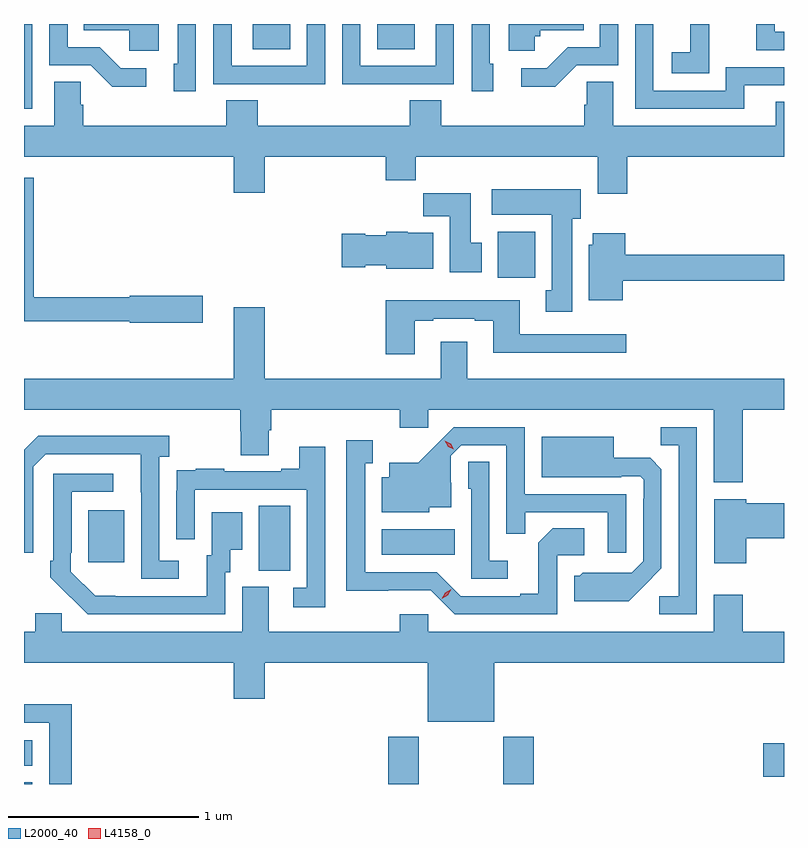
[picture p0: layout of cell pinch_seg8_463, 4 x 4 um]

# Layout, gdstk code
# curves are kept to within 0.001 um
import gdstk
lib = gdstk.Library(unit=1e-6, precision=1e-09)
def R(c, l, rs):  # rectangles x0, y0, x1, y1
    for r in rs: c.add(gdstk.rectangle(r[:2], r[2:], *l))
def P(c, l, *ps):  # polygons
    for p in ps: c.add(gdstk.Polygon(p, *l))
L2000_40 = (2000, 40)
L4158_0 = (4158, 0)

pinch_seg8_463 = lib.new_cell('pinch_seg8_463')
R(pinch_seg8_463, L2000_40, [(115.952,1127.851,115.996,1127.86), (117.869,1127.851,118.029,1128.1), (118.474,1127.851,118.634,1128.1), (119.844,1127.888,119.952,1128.066), (115.952,1127.948,115.996,1128.082), (117.188,1128.973,117.352,1129.316), (116.291,1129.017,116.479,1129.291), (117.836,1129.058,118.22,1129.192), (118.445,1130.516,118.642,1130.758), (115.952,1131.405,115.995,1131.851), (117.155,1131.719,117.352,1131.851), (117.812,1131.719,118.009,1131.851)])
P(pinch_seg8_463, L2000_40, [(117.899,1131.534),(118.215,1131.534),(118.215,1131.851),(118.119,1131.851),(118.119,1131.63),(117.723,1131.63),(117.723,1131.851),(117.627,1131.851),(117.627,1131.533),(117.899,1131.533)],
  [(118.423,1131.642),(118.404,1131.642),(118.404,1131.851),(118.308,1131.851),(118.308,1131.498),(118.423,1131.498)],
  [(119.743,1131.528),(119.952,1131.528),(119.952,1131.624),(119.646,1131.624),(119.646,1131.501),(119.265,1131.501),(119.265,1131.851),(119.169,1131.851),(119.169,1131.405),(119.743,1131.405)],
  [(119.952,1131.81),(119.904,1131.81),(119.904,1131.851),(119.806,1131.851),(119.806,1131.714),(119.952,1131.714)],
  [(119.559,1131.799),(119.558,1131.799),(119.558,1131.851),(119.459,1131.851),(119.459,1131.703),(119.361,1131.703),(119.361,1131.593),(119.559,1131.593)],
  [(118.641,1131.786),(118.668,1131.786),(118.668,1131.818),(118.898,1131.818),(118.898,1131.851),(118.502,1131.851),(118.502,1131.71),(118.641,1131.71)],
  [(116.596,1131.618),(116.461,1131.618),(116.35,1131.729),(116.181,1131.729),(116.181,1131.851),(116.085,1131.851),(116.085,1131.633),(116.304,1131.633),(116.417,1131.521),(116.596,1131.521)],
  [(117.537,1131.851),(117.441,1131.851),(117.441,1131.63),(117.045,1131.63),(117.045,1131.851),(116.949,1131.851),(116.949,1131.534),(117.265,1131.534),(117.265,1131.533),(117.537,1131.533)],
  [(116.662,1131.851),(116.266,1131.851),(116.266,1131.818),(116.505,1131.818),(116.505,1131.71),(116.662,1131.71)],
  [(118.86,1131.633),(119.079,1131.633),(119.079,1131.851),(118.983,1131.851),(118.983,1131.729),(118.814,1131.729),(118.703,1131.618),(118.569,1131.618),(118.569,1131.521),(118.747,1131.521)],
  [(116.856,1131.851),(116.76,1131.851),(116.76,1131.642),(116.741,1131.642),(116.741,1131.498),(116.856,1131.498)],
  [(119.126,1131.152),(119.952,1131.152),(119.952,1131.443),(119.909,1131.443),(119.909,1131.316),(119.053,1131.316),(119.053,1131.548),(118.914,1131.548),(118.914,1131.425),(118.901,1131.425),(118.901,1131.316),(118.148,1131.316),(118.148,1131.449),(117.983,1131.449),(117.983,1131.316),(117.182,1131.316),(117.182,1131.449),(117.017,1131.449),(117.017,1131.316),(116.264,1131.316),(116.264,1131.425),(116.25,1131.425),(116.25,1131.548),(116.111,1131.548),(116.111,1131.316),(115.952,1131.316),(115.952,1131.152),(117.056,1131.152),(117.056,1130.964),(117.22,1130.964),(117.22,1131.152),(117.857,1131.152),(117.857,1131.028),(118.013,1131.028),(118.013,1131.152),(118.973,1131.152),(118.973,1130.958),(119.126,1130.958)],
  [(116.893,1130.42),(116.508,1130.42),(116.508,1130.414),(116.003,1130.414),(116.003,1131.042),(115.952,1131.042),(115.952,1130.286),(116.508,1130.286),(116.508,1130.278),(116.893,1130.278)],
  [(118.837,1130.826),(118.882,1130.826),(118.882,1130.98),(118.413,1130.98),(118.413,1130.846),(118.73,1130.846),(118.73,1130.45),(118.697,1130.45),(118.697,1130.337),(118.837,1130.337)],
  [(118.36,1130.7),(118.303,1130.7),(118.303,1130.959),(118.054,1130.959),(118.054,1130.84),(118.193,1130.84),(118.193,1130.544),(118.36,1130.544)],
  [(118.105,1130.752),(117.972,1130.752),(117.972,1130.758),(117.858,1130.758),(117.858,1130.74),(117.747,1130.74),(117.747,1130.748),(117.624,1130.748),(117.624,1130.57),(117.747,1130.57),(117.747,1130.582),(117.858,1130.582),(117.858,1130.564),(118.105,1130.564)],
  [(119.104,1130.5),(119.952,1130.5),(119.952,1130.636),(119.117,1130.636),(119.117,1130.749),(118.946,1130.749),(118.946,1130.688),(118.925,1130.688),(118.925,1130.396),(119.104,1130.396)],
  [(118.009,1130.289),(118.105,1130.289),(118.105,1130.301),(118.325,1130.301),(118.325,1130.289),(118.421,1130.289),(118.421,1130.12),(119.122,1130.12),(119.122,1130.217),(118.561,1130.217),(118.561,1130.398),(117.857,1130.398),(117.857,1130.112),(118.009,1130.112)],
  [(119.735,1129.82),(119.952,1129.82),(119.952,1129.984),(118.285,1129.984),(118.285,1130.179),(118.145,1130.179),(118.145,1129.984),(117.22,1129.984),(117.22,1130.359),(117.056,1130.359),(117.056,1129.984),(115.952,1129.984),(115.952,1129.82),(117.089,1129.82),(117.089,1129.707),(117.094,1129.707),(117.094,1129.582),(117.241,1129.582),(117.241,1129.714),(117.254,1129.714),(117.254,1129.82),(117.929,1129.82),(117.929,1129.725),(118.08,1129.725),(118.08,1129.82),(119.582,1129.82),(119.582,1129.44),(119.735,1129.44)],
  [(119.493,1129.728),(119.302,1129.728),(119.302,1129.633),(119.397,1129.633),(119.397,1128.84),(119.295,1128.84),(119.295,1128.744),(119.493,1128.744)],
  [(119.121,1129.377),(118.587,1129.377),(118.587,1129.728),(118.214,1129.728),(118.027,1129.543),(117.875,1129.543),(117.875,1129.465),(117.836,1129.465),(117.836,1129.28),(118.086,1129.28),(118.086,1129.307),(118.201,1129.307),(118.201,1129.436),(118.197,1129.436),(118.197,1129.578),(118.254,1129.635),(118.491,1129.635),(118.491,1129.168),(118.589,1129.168),(118.589,1129.281),(119.025,1129.281),(119.025,1129.068),(119.121,1129.068)],
  [(116.767,1129.026),(116.664,1129.026),(116.664,1129.574),(116.716,1129.574),(116.716,1129.684),(116.026,1129.684),(115.952,1129.61),(115.952,1129.068),(116.001,1129.068),(116.001,1129.521),(116.067,1129.587),(116.567,1129.587),(116.568,1128.93),(116.767,1128.93)],
  [(119.215,1128.893),(119.307,1128.986),(119.307,1129.508),(119.248,1129.567),(119.056,1129.567),(119.056,1129.678),(118.676,1129.678),(118.676,1129.466),(119.096,1129.466),(119.096,1129.47),(119.196,1129.47),(119.214,1129.452),(119.214,1129.352),(119.211,1129.352),(119.211,1129.023),(119.151,1128.963),(118.894,1128.964),(118.878,1128.948),(118.847,1128.948),(118.847,1128.812),(119.135,1128.812)],
  [(118.758,1129.056),(118.9,1129.056),(118.9,1129.196),(118.735,1129.196),(118.659,1129.12),(118.659,1128.853),(118.565,1128.853),(118.565,1128.84),(118.251,1128.84),(118.125,1128.966),(117.748,1128.966),(117.748,1129.539),(117.787,1129.539),(117.787,1129.66),(117.647,1129.66),(117.647,1128.869),(118.092,1128.87),(118.218,1128.744),(118.758,1128.744)],
  [(117.537,1129.627),(117.401,1129.627),(117.401,1129.51),(117.305,1129.51),(117.305,1129.497),(117.005,1129.497),(117.005,1129.51),(116.857,1129.51),(116.857,1129.503),(116.755,1129.503),(116.755,1129.394),(116.754,1129.394),(116.754,1129.14),(116.85,1129.14),(116.85,1129.401),(117.441,1129.401),(117.441,1128.885),(117.369,1128.885),(117.369,1128.78),(117.537,1128.78)],
  [(118.498,1129.027),(118.401,1129.027),(118.401,1129.547),(118.29,1129.547),(118.29,1129.404),(118.305,1129.404),(118.305,1128.93),(118.498,1128.93)],
  [(117.012,1128.966),(117.037,1128.966),(117.037,1129.085),(117.1,1129.085),(117.1,1129.282),(116.939,1129.282),(116.939,1129.056),(116.915,1129.056),(116.915,1128.84),(116.328,1128.841),(116.199,1128.969),(116.199,1129.069),(116.202,1129.069),(116.202,1129.389),(116.422,1129.389),(116.422,1129.485),(116.106,1129.485),(116.106,1129.027),(116.091,1129.027),(116.091,1128.939),(116.288,1128.744),(117.012,1128.744)],
  [(119.752,1129.145),(119.952,1129.145),(119.952,1129.328),(119.752,1129.328),(119.752,1129.351),(119.585,1129.351),(119.585,1129.014),(119.752,1129.014)],
  [(118.426,1128.488),(119.952,1128.488),(119.952,1128.652),(119.735,1128.652),(119.735,1128.847),(119.582,1128.847),(119.582,1128.652),(118.08,1128.652),(118.08,1128.745),(117.929,1128.745),(117.929,1128.652),(117.241,1128.652),(117.241,1128.888),(117.101,1128.888),(117.101,1128.652),(116.151,1128.652),(116.151,1128.75),(116.012,1128.75),(116.012,1128.652),(115.952,1128.652),(115.952,1128.488),(117.056,1128.488),(117.056,1128.3),(117.22,1128.3),(117.22,1128.488),(118.076,1128.488),(118.076,1128.179),(118.426,1128.179)],
  [(116.203,1128.272),(115.962,1128.272),(115.962,1128.27),(115.952,1128.27),(115.952,1128.174),(116.084,1128.174),(116.084,1127.851),(116.203,1127.851)])
P(pinch_seg8_463, L4158_0, [(118.214,1129.612),(118.184,1129.627),(118.166,1129.657),(118.166,1129.657),(118.166,1129.657),(118.197,1129.642),(118.215,1129.612),(118.215,1129.612)],
  [(118.151,1128.826),(118.151,1128.826),(118.168,1128.858),(118.2,1128.877),(118.2,1128.877),(118.2,1128.877),(118.183,1128.844),(118.151,1128.826)])

lib.write_gds('pinch_seg8_463.gds')
